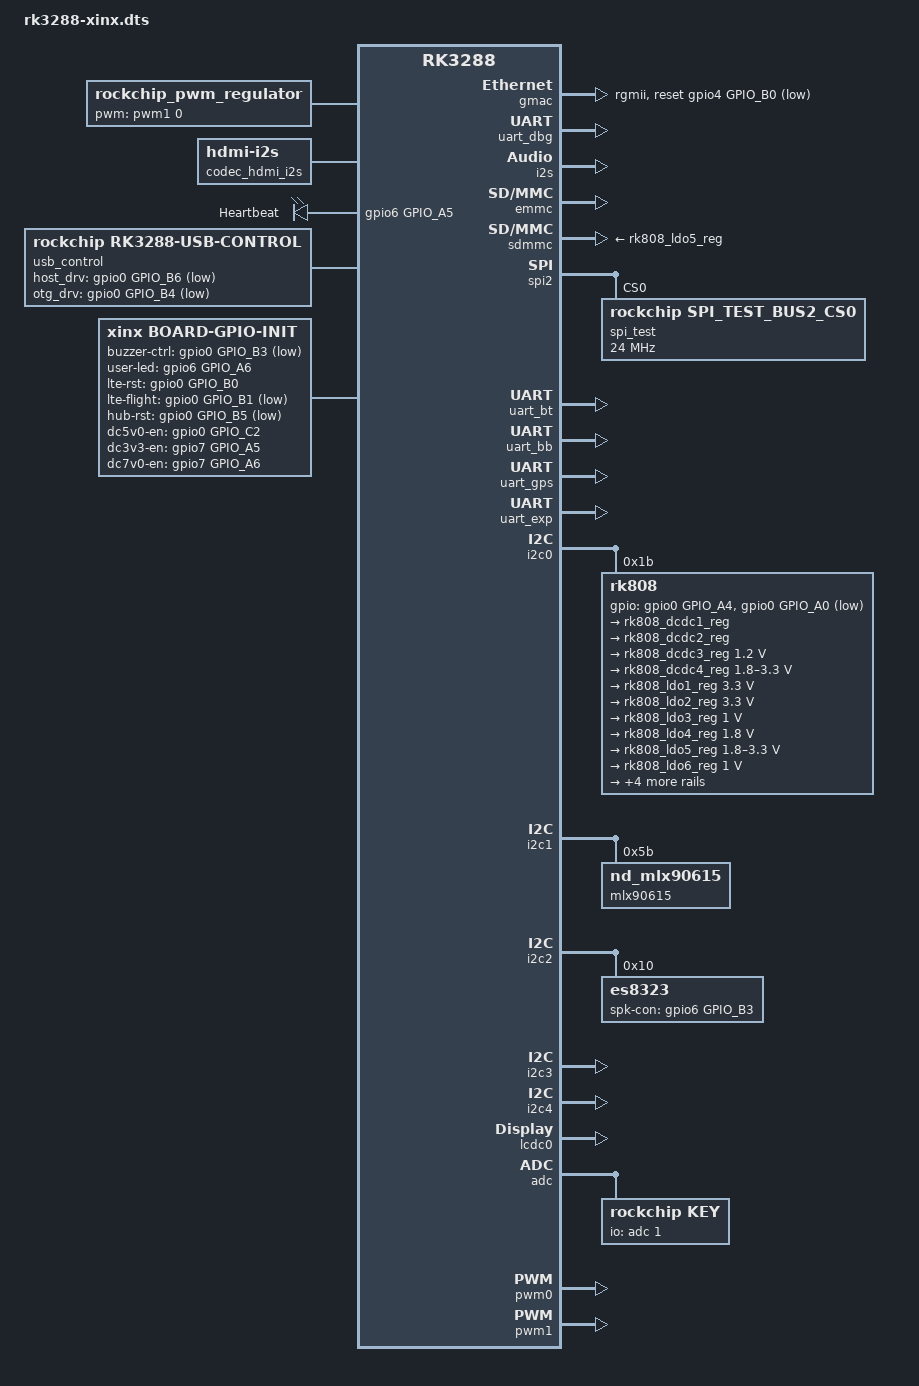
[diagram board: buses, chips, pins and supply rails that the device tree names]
/dts-v1/;

#include "rk3288.dtsi"
//#include "lcd-LP097Qx1.dtsi"
#include "lcd-b101ew05.dtsi"
#include <dt-bindings/input/input.h>

/ {
	fiq-debugger {
		status ="disabled";
	};

    wireless-wlan {
        compatible = "wlan-platdata";

	/* wifi_chip_type - wifi chip define
	* bcmwifi ==> like ap6xxx, rk90x;
	* rtkwifi ==> like rtl8188xx, rtl8723xx,rtl8812auv;
	* esp8089 ==> esp8089;
	* other   ==> for other wifi;
	*/
	wifi_chip_type = "bcmwifi";
	sdio_vref = <1800>; //1800mv or 3300mv

	//keep_wifi_power_on;
	//power_ctrl_by_pmu;
        power_pmu_regulator = "act_ldo3";
        power_pmu_enable_level = <1>; //1->HIGH, 0->LOW

        //vref_ctrl_enable;
        //vref_ctrl_gpio = <&gpio0 GPIO_A2 GPIO_ACTIVE_HIGH>;
        vref_pmu_regulator = "act_ldo3";
        vref_pmu_enable_level = <1>; //1->HIGH, 0->LOW

        WIFI,poweren_gpio = <&gpio4 GPIO_D4 GPIO_ACTIVE_HIGH>;
        WIFI,host_wake_irq = <&gpio4 GPIO_D6 GPIO_ACTIVE_HIGH>;
        //WIFI,reset_gpio = <&gpio0 GPIO_A2 GPIO_ACTIVE_LOW>;

        status = "disabled";
    };

    wireless-bluetooth {
        compatible = "bluetooth-platdata";

        //wifi-bt-power-toggle;

        uart_rts_gpios = <&gpio4 GPIO_C3 GPIO_ACTIVE_LOW>;
        pinctrl-names = "default","rts_gpio";
        pinctrl-0 = <&uart0_rts>;
        pinctrl-1 = <&uart0_rts_gpio>;

        BT,power_gpio = <&gpio8 GPIO_A7 GPIO_ACTIVE_HIGH>;
        BT,reset_gpio = <&gpio4 GPIO_D5 GPIO_ACTIVE_HIGH>;
        BT,wake_gpio = <&gpio4 GPIO_D2 GPIO_ACTIVE_HIGH>;
        BT,wake_host_irq = <&gpio4 GPIO_D7 GPIO_ACTIVE_LOW>;

        status = "disabled";
    };
    /*
	backlight {
		compatible = "pwm-backlight";
		pwms = <&pwm0 0 25000>;
		brightness-levels = <255 254 253 252 251 250 249 248 247 246 245 244 243 242 241 240
		     239 238 237 236 235 234 233 232 231 230 229 228 227 226 225 224 223 222 221 220
		     219 218 217 216 215 214 213 212 211 210 209 208 207 206 205 204 203 202 201 200
		     199 198 197 196 195 194 193 192 191 190 189 188 187 186 185 184 183 182 181 180
		     179 178 177 176 175 174 173 172 171 170 169 168 167 166 165 164 163 162 161 160
		     159 158 157 156 155 154 153 152 151 150 149 148 147 146 145 144 143 142 141 140
		     139 138 137 136 135 134 133 132 131 130 129 128 127 126 125 124 123 122 121 120
		     119 118 117 116 115 114 113 112 111 110 109 108 107 106 105 104 103 102 101 100
		     99 98 97 96 95 94 93 92 91 90 89 88 87 86 85 84 83 82 81 80 79 78 77 76 75 74 73 72 71 70
		     69 68 67 66 65 64 63 62 61 60 59 58 57 56 55 54 53 52 51 50 49 48 47 46 45 44 43 42 41 40
		     39 38 37 36 35 34 33 32 31 30 29 28 27 26 25 24 23 22 21 20 19 18 17 16 15 14 13 12 11 10
		     9 8 7 6 5 4 3 2 1 0>;
		default-brightness-level = <200>;
	//	enable-gpios = <&gpio7 GPIO_A2 GPIO_ACTIVE_HIGH>;
	};
*/
	pwm_regulator {
		compatible = "rockchip_pwm_regulator";
		pwms = <&pwm1 0 2000>;
		rockchip,pwm_id= <1>;
		rockchip,pwm_voltage_map= <925000 950000 975000 1000000 1025000 1050000 1075000 1100000 1125000 1150000 1175000 1200000 1225000 1250000 1275000 1300000 1325000 1350000 1375000 1400000>;
		rockchip,pwm_voltage= <1100000>;
		rockchip,pwm_min_voltage= <925000>;
		rockchip,pwm_max_voltage= <1400000>;
		rockchip,pwm_suspend_voltage= <950000>;
		rockchip,pwm_coefficient= <475>;
		regulators {
			#address-cells = <1>;
			#size-cells = <0>;
			pwm_reg0: regulator@0 {
				regulator-compatible = "pwm_dcdc1";
				regulator-name= "vdd_logic";
				regulator-min-microvolt = <925000>;
				regulator-max-microvolt = <1400000>;
				regulator-always-on;
				regulator-boot-on;
			};
		};
	};

	codec_hdmi_i2s: codec-hdmi-i2s {
		compatible = "hdmi-i2s";
	};

	rockchip-hdmi-i2s {
		status = "disabled";
		compatible = "rockchip-hdmi-i2s";
		dais {
			dai0 {
				audio-codec = <&codec_hdmi_i2s>;
				audio-controller = <&i2s>;
				format = "i2s";
				//continuous-clock;
				//bitclock-inversion;
				//frame-inversion;
				//bitclock-master;
				//frame-master;
			};
		};
	};

	rockchip-es8323 {
		compatible = "rockchip-es8323";
		dais {
			dai0 {
				audio-codec = <&es8323>;
				audio-controller = <&i2s>;
				format = "i2s";
				//continuous-clock;
				//bitclock-inversion;
				//frame-inversion;
				//bitclock-master;
				//frame-master;
			};
		};
	};
	
 	leds {
       compatible = "gpio-leds";
       debug-led {
			label = "Heartbeat";
			gpios = <&gpio6 GPIO_A5 GPIO_ACTIVE_HIGH>;
			linux,default-trigger = "heartbeat";
            default-state = "on";
		};
   }; 

	usb_control {
		compatible = "rockchip,rk3288-usb-control";

		host_drv_gpio = <&gpio0 GPIO_B6 GPIO_ACTIVE_LOW>;
		otg_drv_gpio = <&gpio0 GPIO_B4 GPIO_ACTIVE_LOW>;

		rockchip,remote_wakeup;
		rockchip,usb_irq_wakeup;
	};

	board-gpio-init{
		compatible = "xinx,board-gpio-init";
	    buzzer-ctrl = <&gpio0 GPIO_B3 GPIO_ACTIVE_LOW>;
	    user-led = <&gpio6 GPIO_A6 GPIO_ACTIVE_HIGH>;
	    lte-rst = <&gpio0 GPIO_B0 GPIO_ACTIVE_HIGH>;	/*ignore conf, driver set 1 to reset 4g, 0 to work normal */
	    lte-flight = <&gpio0 GPIO_B1 GPIO_ACTIVE_LOW>;
	    hub-rst = <&gpio0 GPIO_B5 GPIO_ACTIVE_LOW>;		/*ignore conf, driver set 0 to reset hub, 1 to work normal*/
	    dc5v0-en = <&gpio0 GPIO_C2 GPIO_ACTIVE_HIGH>;
	    dc3v3-en = <&gpio7 GPIO_A5 GPIO_ACTIVE_HIGH>;
	    dc7v0-en = <&gpio7 GPIO_A6 GPIO_ACTIVE_HIGH>;
	    dc12v0-en = <&gpio7 GPIO_B2 GPIO_ACTIVE_HIGH>;
	    hardware-ver0 = <&gpio4 GPIO_D5 GPIO_ACTIVE_LOW>;
	    hardware-ver1 = <&gpio4 GPIO_D6 GPIO_ACTIVE_LOW>;
	    hardware-ver2 = <&gpio4 GPIO_D7 GPIO_ACTIVE_LOW>;
	    user-gpios = < &gpio5 GPIO_B2 GPIO_ACTIVE_LOW
	    			 &gpio5 GPIO_B3 GPIO_ACTIVE_LOW
	    			 &gpio5 GPIO_B4 GPIO_ACTIVE_LOW
	    			 &gpio5 GPIO_B5 GPIO_ACTIVE_LOW
	    			 &gpio5 GPIO_C0 GPIO_ACTIVE_LOW
	    			 &gpio5 GPIO_C1 GPIO_ACTIVE_LOW
	    			 &gpio5 GPIO_C2 GPIO_ACTIVE_LOW
	    			 &gpio5 GPIO_C3 GPIO_ACTIVE_LOW
	    			 &gpio8 GPIO_A0 GPIO_ACTIVE_LOW
	    			 &gpio8 GPIO_A1 GPIO_ACTIVE_LOW
	    			 &gpio8 GPIO_A2 GPIO_ACTIVE_LOW
	    			 &gpio8 GPIO_A3 GPIO_ACTIVE_LOW>;
		status = "ok";
	};

};

&gmac {
//	pmu_regulator = "act_ldo5";
//	pmu_enable_level = <1>; //1->HIGH, 0->LOW
//	power-gpio = <&gpio0 GPIO_A6 GPIO_ACTIVE_HIGH>;
	reset-gpio = <&gpio4 GPIO_B0 GPIO_ACTIVE_LOW>;
	phy-mode = "rgmii";
	clock_in_out = "input";
	tx_delay = <0x20>;
	rx_delay = <0x1>;
};

&uart_dbg {
	 status = "okay";
};

&spdif {
	 status = "disabled";
};

&i2s {
        status = "okay";
		pinctrl-0 = <&i2s_mclk &i2s_sclk &i2s_lrckrx &i2s_lrcktx &i2s_sdi &i2s_sdo0>;
};

&pinctrl {
	//used for init some gpio
	init-gpios = <&gpio4 GPIO_B0 GPIO_ACTIVE_HIGH>;
				//&gpio7 GPIO_A5 GPIO_ACTIVE_HIGH
				//&gpio0 GPIO_C2 GPIO_ACTIVE_HIGH>;

	// gmac drive strength
	gpio4_gmac {
		mac_clk: mac-clk {
			rockchip,drive = <VALUE_DRV_12MA>;
		};

		mac_txpins: mac-txpins {
			rockchip,drive = <VALUE_DRV_12MA>;
		};

		mac_rxpins: mac-rxpins {
			rockchip,drive = <VALUE_DRV_12MA>;
		};

		mac_crs: mac-crs {
			rockchip,drive = <VALUE_DRV_12MA>;
		};

		mac_mdpins: mac-mdpins {
			rockchip,drive = <VALUE_DRV_12MA>;
		};
	};
};
&nandc0 {
	status = "disabled"; // used nand set "okay" ,used emmc set "disabled"
};
&nandc1 {
	status = "disabled"; // used nand set "okay" ,used emmc set "disabled"
};

&nandc0reg {
	status = "disabled"; // used nand set "okay" ,used emmc set "disabled"
};
&emmc {
	clock-frequency = <100000000>;
	clock-freq-min-max = <400000 100000000>;

        supports-highspeed;
	supports-emmc;
        bootpart-no-access;

	supports-DDR_MODE;
	caps2-mmc-hs200;

        ignore-pm-notify;
		keep-power-in-suspend;
    	status = "okay";
};
    
&sdmmc {
		clock-frequency = <50000000>;
		lock-freq-min-max = <400000 50000000>;
		supports-highspeed;
		supports-sd;
		broken-cd;
		card-detect-delay = <200>;

	ignore-pm-notify;
        keep-power-in-suspend;
	
        vmmc-supply = <&rk808_ldo5_reg>;
	status = "okay";
};
		
&sdio {
	clock-frequency = <50000000>;
        clock-freq-min-max = <200000 50000000>;
		
  	supports-highspeed;		
	supports-sdio;
		ignore-pm-notify;
		keep-power-in-suspend;
		//cap-sdio-irq;
		status = "disabled";
};

&spi0 {
	status = "disabled";
	max-freq = <48000000>;
};

&spi1 {
	status = "disabled";
	max-freq = <48000000>;
	/*
	spi_test@10 {
	        compatible = "rockchip,spi_test_bus1_cs0";
	        reg = <0>;
	        spi-max-frequency = <24000000>;
	        //spi-cpha;
		//spi-cpol;
	        poll_mode = <0>;
	        type = <0>;
		enable_dma = <0>;
	};*/
};

&spi2 {
	status = "okay";
	max-freq = <48000000>;
	pinctrl-0 = <&spi2_txd &spi2_rxd &spi2_clk &spi2_cs0 >;
	spi_test@20 {
	        compatible = "rockchip,spi_test_bus2_cs0";
	        reg = <0>;
	        spi-max-frequency = <24000000>;
	        //spi-cpha;
		//spi-cpol;
	        poll_mode = <0>;
	        type = <0>;
		enable_dma = <0>;
	};
};

&uart_bt {
        status = "okay";
        pinctrl-0 = <&uart0_xfer>;
};

&uart_bb {
    pinctrl-0 = <&uart1_xfer>;
    status = "okay";
};

&uart_gps {
    pinctrl-0 = <&uart3_xfer>;
    status = "okay";
};

&uart_exp {
    pinctrl-0 = <&uart4_xfer>;
    status = "okay";
};

&i2c0 {	
	status = "okay";
	rk808: rk808@1b {
		reg = <0x1b>;
		status = "okay";
	};

};

&i2c1 {
	status = "okay";
	mlx90615: mlx90615@5B {
	    compatible = "nd_mlx90615";
		reg = <0x5B>;
	};
};

&i2c2 {
	status = "okay";
	es8323: es8323@10 {
	    compatible = "es8323";
		reg = <0x10>;
		spk-con-gpio = <&gpio6 GPIO_B3 GPIO_ACTIVE_HIGH>;
		//hp-det-gpio = <&gpio7 GPIO_B7 GPIO_ACTIVE_HIGH>;
		//hp-mic-only = <1>;
		clocks = <&clk_i2s>, <&clk_i2s_out>;
		clock-names = "i2s_clk","i2s_mclk";
		pinctrl-names = "default";
		pinctrl-0 = <&i2s_mclk>;
	};
	
};

&i2c3 {
	status = "okay";
};

&i2c4 {
	status = "okay";
};

&i2c5 {
	status = "disabled";
};

&fb {
	rockchip,disp-mode = <NO_DUAL>;
	rockchip,uboot-logo-on = <0>;
	rockchip,disp-policy = <DISPLAY_POLICY_BOX>;
};

&disp_timings {
	native-mode = <&timing0>;
};

&rk_screen {
	 display-timings = <&disp_timings>;
};

/*lcdc0 as PRMRY(HDMI)*/
&lcdc0 {
	status = "okay";
	rockchip,iommu-enabled = <1>;
	rockchip,prop = <PRMRY>;
};

&lcdc1 {
	status = "disabled";
	rockchip,iommu-enabled = <1>;
	rockchip,prop = <EXTEND>;
};

&hdmi {
	status = "disabled";
	rockchip,cec_enable = <0>;
	rockchip,hdcp_enable = <0>;
	rockchip,hdmi_audio_source = <1>;
};

&ion_cma {
	       reg = <0x00000000 0x1000000>; /* 16MB */
};

&vpu {
	iommu_enabled = <1>;
};

&hevc {
	iommu_enabled = <1>;
};

&iep {
	iommu_enabled = <1>;
};

&adc {
	status = "okay";


	key {
		compatible = "rockchip,key";
		io-channels = <&adc 1>;

		power-key {
			gpios = <&gpio0 GPIO_A5 GPIO_ACTIVE_LOW>;
			linux,code = <116>;
			label = "power";
			gpio-key,wakeup;
		};
		recovery-key {
			linux,code = <113>;
			label = "recovery";
			rockchip,adc_value = <4>;
		};

		blacklight-ctrl {
			gpios = <&gpio0 GPIO_A7 GPIO_ACTIVE_LOW>;
			linux,code = <117>;
			label = "blacklight-en";
		};

		user-key {
			gpios = <&gpio7 GPIO_B1 GPIO_ACTIVE_LOW>;
			linux,code = <118>;
			label = "user-key";
		};
		
	};
};

&pwm0 {
        status = "okay";
};

&pwm1 {
	status = "okay";
};


&clk_core_dvfs_table {
	support-pvtm = <1>;
	pvtm-operating-points = <
		/* KHz    uV	pvtm margin*/
//		126000   900000	25000
//		216000   900000	25000
//		312000   900000	25000
		408000   900000	25000
		600000   950000	50000
		696000   950000	50000
		816000  1000000	50000
		1008000 1050000	75000
		1200000 1100000	75000
		1416000 1200000	75000
		1512000 1300000	75000
		1608000 1350000	75000
//		1704000 1350000	75000
//		1800000 1350000	75000
		>;
	status="okay";
};

&clk_gpu_dvfs_table {
	operating-points = <
		/* KHz    uV */
//		100000 900000
		200000 900000
		300000 950000
		420000 1100000
		500000 1150000
//		600000 1250000
		>;
	status="okay";
};

&clk_ddr_dvfs_table {
	operating-points = <
		/* KHz    uV */
		200000 1075000
		300000 1075000
		456000 1125000
		533000 1150000
		>;

	freq-table = <
		/*status		freq(KHz)*/
		SYS_STATUS_NORMAL	456000
		SYS_STATUS_SUSPEND	200000
		//SYS_STATUS_VIDEO_1080P  240000
		SYS_STATUS_VIDEO_4K     533000
		SYS_STATUS_PERFORMANCE  533000
		//SYS_STATUS_BOOST	324000
		//SYS_STATUS_ISP	400000
		>;
	auto-freq-table = <
		240000
		324000
		456000
		528000
		>;
	auto-freq=<0>;
	status="okay";
};


/include/ "rk808.dtsi"
&rk808 {
	gpios =<&gpio0 GPIO_A4 GPIO_ACTIVE_HIGH>,<&gpio0 GPIO_A0 GPIO_ACTIVE_LOW>;
	rk808,system-power-controller;

	regulators {
		
		rk808_dcdc1_reg: regulator@0{
			regulator-name= "vdd_arm";
			regulator-always-on;
			regulator-boot-on;
		};

		rk808_dcdc2_reg: regulator@1 {
			regulator-name= "vdd_gpu";
			regulator-always-on;
			regulator-boot-on;
		};

		rk808_dcdc3_reg: regulator@2 {
			regulator-name= "rk_dcdc3";
			regulator-min-microvolt = <1200000>;
			regulator-max-microvolt = <1200000>;
			regulator-always-on;
			regulator-boot-on;
		};

		rk808_dcdc4_reg: regulator@3 {
			regulator-name= "vccio";
			regulator-min-microvolt = <1800000>;
			regulator-max-microvolt = <3300000>;
			regulator-always-on;
			regulator-boot-on;
		};

		rk808_ldo1_reg: regulator@4 {
			regulator-name= "rk_ldo1";
			regulator-min-microvolt = <3300000>;
			regulator-max-microvolt = <3300000>;
			regulator-always-on;
			regulator-boot-on;
		};

		rk808_ldo2_reg: regulator@5 {
			regulator-name= "rk_ldo2";
			regulator-min-microvolt = <3300000>;
			regulator-max-microvolt = <3300000>;
			regulator-always-on;
			regulator-boot-on;
		};

		rk808_ldo3_reg: regulator@6 {
			regulator-name= "rk_ldo3";
			regulator-min-microvolt = <1000000>;
			regulator-max-microvolt = <1000000>;
			regulator-always-on;
			regulator-boot-on;
		};

		rk808_ldo4_reg:regulator@7 {
			regulator-name= "rk_ldo4";
			regulator-min-microvolt = <1800000>;
			regulator-max-microvolt = <1800000>;
			regulator-always-on;
			regulator-boot-on;
		};

		rk808_ldo5_reg: regulator@8 {
			regulator-name= "vcc_sd";
			regulator-min-microvolt = <1800000>;
			regulator-max-microvolt = <3300000>;
			regulator-always-on;
			regulator-boot-on;
		};

		rk808_ldo6_reg: regulator@9 {
			regulator-name= "rk_ldo6";
			regulator-min-microvolt = <1000000>;
			regulator-max-microvolt = <1000000>;
			regulator-always-on;
			regulator-boot-on;
		};

		rk808_ldo7_reg: regulator@10 {
			regulator-name= "rk_ldo7";
			regulator-min-microvolt = <1800000>;
			regulator-max-microvolt = <1800000>;
			regulator-always-on;
			regulator-boot-on;
		};

		rk808_ldo8_reg: regulator@11 {
			regulator-name= "rk_ldo8";
			regulator-min-microvolt = <1800000>;
			regulator-max-microvolt = <1800000>;
			regulator-always-on;
			regulator-boot-on;
		};

		rk808_ldo9_reg: regulator@12 {
			regulator-name= "rk_ldo9";
			regulator-always-on;
			regulator-boot-on;
		};

		rk808_ldo10_reg: regulator@13 {
			regulator-name= "rk_ldo10";
			regulator-always-on;
			regulator-boot-on;
		};
	};
};

&lcdc_vdd_domain {
	regulator-name = "vcc30_lcd";
	};
&dpio_vdd_domain{
	regulator-name = "vcc18_cif";	
	};
&flash0_vdd_domain{
	regulator-name = "vcc_flash";	
	};
&flash1_vdd_domain{
	regulator-name = "vcc_flash";			
	};
&apio3_vdd_domain{
	regulator-name = "vccio_wl";		
	};
&apio5_vdd_domain{
	regulator-name = "vccio";		
	};
&apio4_vdd_domain{
	regulator-name = "vccio";		
	};
&apio1_vdd_domain{
	regulator-name = "vccio";			
	};
&apio2_vdd_domain{
	regulator-name = "vccio";		
	};
&sdmmc0_vdd_domain{
	regulator-name = "vcc_sd";			
	};
